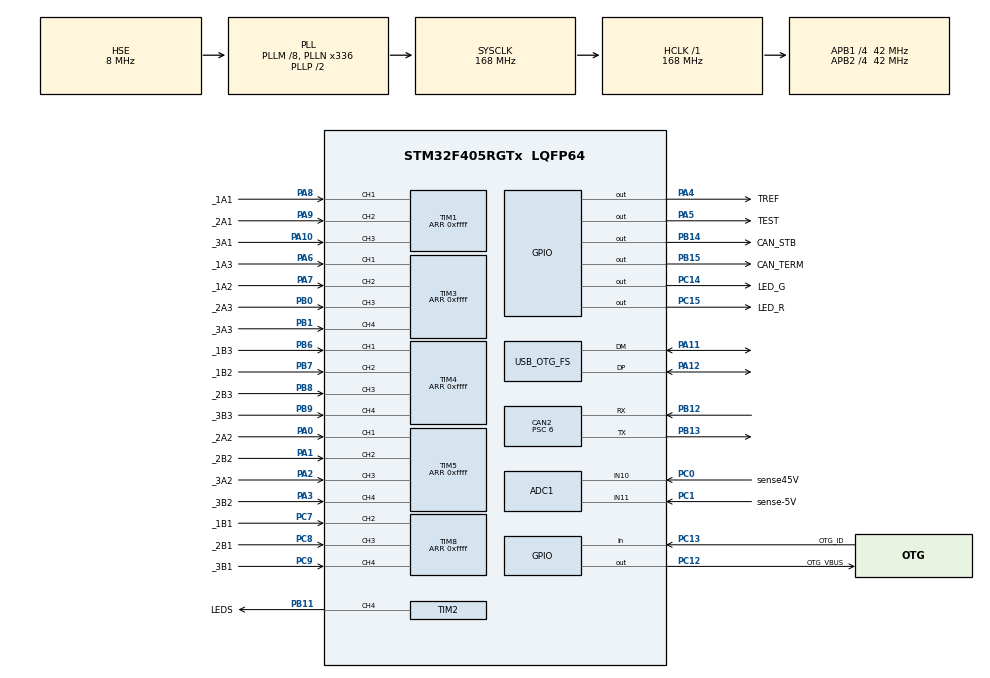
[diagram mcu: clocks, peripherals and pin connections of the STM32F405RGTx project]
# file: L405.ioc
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ADC1.Channel-1\#ChannelRegularConversion=ADC_CHANNEL_10
ADC1.Channel-2\#ChannelRegularConversion=ADC_CHANNEL_11
ADC1.Channel-3\#ChannelRegularConversion=ADC_CHANNEL_TEMPSENSOR
ADC1.ContinuousConvMode=ENABLE
ADC1.DMAContinuousRequests=ENABLE
ADC1.EOCSelection=ADC_EOC_SEQ_CONV
ADC1.InjNumberOfConversion=0
ADC1.NbrOfConversion=3
ADC1.NbrOfConversionFlag=1
ADC1.Rank-1\#ChannelRegularConversion=1
ADC1.Rank-2\#ChannelRegularConversion=2
ADC1.Rank-3\#ChannelRegularConversion=3
ADC1.SamplingTime-1\#ChannelRegularConversion=ADC_SAMPLETIME_112CYCLES
ADC1.SamplingTime-2\#ChannelRegularConversion=ADC_SAMPLETIME_112CYCLES
ADC1.SamplingTime-3\#ChannelRegularConversion=ADC_SAMPLETIME_112CYCLES
ADC1.master=1
CAN2.ABOM=ENABLE
CAN2.BS1=CAN_BS1_11TQ
CAN2.BS2=CAN_BS2_2TQ
CAN2.CalculateBaudRate=500000
CAN2.CalculateTimeBit=1999.99
CAN2.CalculateTimeQuantum=142.85714285714286
CAN2.Mode=CAN_MODE_NORMAL
CAN2.NART=ENABLE
CAN2.Prescaler=6
CAN2.SJW=CAN_SJW_1TQ
CAN2.TXFP=ENABLE
Dma.ADC1.13.Direction=DMA_PERIPH_TO_MEMORY
Dma.ADC1.13.FIFOMode=DMA_FIFOMODE_ENABLE
Dma.ADC1.13.FIFOThreshold=DMA_FIFO_THRESHOLD_FULL
Dma.ADC1.13.Instance=DMA2_Stream0
Dma.ADC1.13.MemBurst=DMA_MBURST_SINGLE
Dma.ADC1.13.MemDataAlignment=DMA_MDATAALIGN_HALFWORD
Dma.ADC1.13.MemInc=DMA_MINC_ENABLE
Dma.ADC1.13.Mode=DMA_CIRCULAR
Dma.ADC1.13.PeriphBurst=DMA_PBURST_SINGLE
Dma.ADC1.13.PeriphDataAlignment=DMA_PDATAALIGN_HALFWORD
Dma.ADC1.13.PeriphInc=DMA_PINC_DISABLE
Dma.ADC1.13.Priority=DMA_PRIORITY_LOW
Dma.Request0=TIM2_UP/CH4
Dma.Request1=TIM5_CH4/TRIG
Dma.Request10=TIM5_CH3/UP
Dma.Request11=TIM3_CH2
Dma.Request12=TIM4_CH2
Dma.Request13=ADC1
Dma.Request2=TIM1_CH1
Dma.Request3=TIM1_CH2
Dma.Request4=TIM1_CH3
Dma.Request5=TIM8_CH2
Dma.Request6=TIM8_CH3
Dma.Request7=TIM8_CH4/TRIG/COM
Dma.Request8=TIM5_CH1
Dma.Request9=TIM5_CH2
Dma.TIM1_CH1.2.Direction=DMA_PERIPH_TO_MEMORY
Dma.TIM1_CH1.2.FIFOMode=DMA_FIFOMODE_DISABLE
Dma.TIM1_CH1.2.Instance=DMA2_Stream1
Dma.TIM1_CH1.2.MemDataAlignment=DMA_MDATAALIGN_WORD
Dma.TIM1_CH1.2.MemInc=DMA_MINC_ENABLE
Dma.TIM1_CH1.2.Mode=DMA_CIRCULAR
Dma.TIM1_CH1.2.PeriphDataAlignment=DMA_PDATAALIGN_WORD
Dma.TIM1_CH1.2.PeriphInc=DMA_PINC_DISABLE
Dma.TIM1_CH1.2.Priority=DMA_PRIORITY_LOW
Dma.TIM1_CH2.3.Direction=DMA_PERIPH_TO_MEMORY
Dma.TIM1_CH2.3.FIFOMode=DMA_FIFOMODE_DISABLE
Dma.TIM1_CH2.3.Instance=DMA2_Stream2
Dma.TIM1_CH2.3.MemDataAlignment=DMA_MDATAALIGN_WORD
Dma.TIM1_CH2.3.MemInc=DMA_MINC_ENABLE
Dma.TIM1_CH2.3.Mode=DMA_CIRCULAR
Dma.TIM1_CH2.3.PeriphDataAlignment=DMA_PDATAALIGN_WORD
Dma.TIM1_CH2.3.PeriphInc=DMA_PINC_DISABLE
Dma.TIM1_CH2.3.Priority=DMA_PRIORITY_LOW
Dma.TIM1_CH3.4.Direction=DMA_PERIPH_TO_MEMORY
Dma.TIM1_CH3.4.FIFOMode=DMA_FIFOMODE_DISABLE
Dma.TIM1_CH3.4.Instance=DMA2_Stream6
Dma.TIM1_CH3.4.MemDataAlignment=DMA_MDATAALIGN_WORD
Dma.TIM1_CH3.4.MemInc=DMA_MINC_ENABLE
Dma.TIM1_CH3.4.Mode=DMA_CIRCULAR
Dma.TIM1_CH3.4.PeriphDataAlignment=DMA_PDATAALIGN_WORD
Dma.TIM1_CH3.4.PeriphInc=DMA_PINC_DISABLE
Dma.TIM1_CH3.4.Priority=DMA_PRIORITY_LOW
Dma.TIM2_UP/CH4.0.Direction=DMA_MEMORY_TO_PERIPH
Dma.TIM2_UP/CH4.0.FIFOMode=DMA_FIFOMODE_ENABLE
Dma.TIM2_UP/CH4.0.FIFOThreshold=DMA_FIFO_THRESHOLD_FULL
Dma.TIM2_UP/CH4.0.Instance=DMA1_Stream7
Dma.TIM2_UP/CH4.0.MemBurst=DMA_MBURST_SINGLE
Dma.TIM2_UP/CH4.0.MemDataAlignment=DMA_MDATAALIGN_WORD
Dma.TIM2_UP/CH4.0.MemInc=DMA_MINC_ENABLE
Dma.TIM2_UP/CH4.0.Mode=DMA_NORMAL
Dma.TIM2_UP/CH4.0.PeriphBurst=DMA_PBURST_SINGLE
Dma.TIM2_UP/CH4.0.PeriphDataAlignment=DMA_PDATAALIGN_WORD
Dma.TIM2_UP/CH4.0.PeriphInc=DMA_PINC_DISABLE
Dma.TIM2_UP/CH4.0.Priority=DMA_PRIORITY_LOW
Dma.TIM3_CH2.11.Direction=DMA_PERIPH_TO_MEMORY
Dma.TIM3_CH2.11.FIFOMode=DMA_FIFOMODE_DISABLE
Dma.TIM3_CH2.11.Instance=DMA1_Stream5
Dma.TIM3_CH2.11.MemDataAlignment=DMA_MDATAALIGN_WORD
Dma.TIM3_CH2.11.MemInc=DMA_MINC_ENABLE
Dma.TIM3_CH2.11.Mode=DMA_CIRCULAR
Dma.TIM3_CH2.11.PeriphDataAlignment=DMA_PDATAALIGN_WORD
Dma.TIM3_CH2.11.PeriphInc=DMA_PINC_DISABLE
Dma.TIM3_CH2.11.Priority=DMA_PRIORITY_LOW
Dma.TIM4_CH2.12.Direction=DMA_PERIPH_TO_MEMORY
Dma.TIM4_CH2.12.FIFOMode=DMA_FIFOMODE_DISABLE
Dma.TIM4_CH2.12.Instance=DMA1_Stream3
Dma.TIM4_CH2.12.MemDataAlignment=DMA_MDATAALIGN_WORD
Dma.TIM4_CH2.12.MemInc=DMA_MINC_ENABLE
Dma.TIM4_CH2.12.Mode=DMA_CIRCULAR
Dma.TIM4_CH2.12.PeriphDataAlignment=DMA_PDATAALIGN_WORD
Dma.TIM4_CH2.12.PeriphInc=DMA_PINC_DISABLE
Dma.TIM4_CH2.12.Priority=DMA_PRIORITY_LOW
Dma.TIM5_CH1.8.Direction=DMA_PERIPH_TO_MEMORY
Dma.TIM5_CH1.8.FIFOMode=DMA_FIFOMODE_DISABLE
Dma.TIM5_CH1.8.Instance=DMA1_Stream2
Dma.TIM5_CH1.8.MemDataAlignment=DMA_MDATAALIGN_WORD
Dma.TIM5_CH1.8.MemInc=DMA_MINC_ENABLE
Dma.TIM5_CH1.8.Mode=DMA_CIRCULAR
Dma.TIM5_CH1.8.PeriphDataAlignment=DMA_PDATAALIGN_WORD
Dma.TIM5_CH1.8.PeriphInc=DMA_PINC_DISABLE
Dma.TIM5_CH1.8.Priority=DMA_PRIORITY_LOW
Dma.TIM5_CH2.9.Direction=DMA_PERIPH_TO_MEMORY
Dma.TIM5_CH2.9.FIFOMode=DMA_FIFOMODE_DISABLE
Dma.TIM5_CH2.9.Instance=DMA1_Stream4
Dma.TIM5_CH2.9.MemDataAlignment=DMA_MDATAALIGN_WORD
Dma.TIM5_CH2.9.MemInc=DMA_MINC_ENABLE
Dma.TIM5_CH2.9.Mode=DMA_CIRCULAR
Dma.TIM5_CH2.9.PeriphDataAlignment=DMA_PDATAALIGN_WORD
Dma.TIM5_CH2.9.PeriphInc=DMA_PINC_DISABLE
Dma.TIM5_CH2.9.Priority=DMA_PRIORITY_LOW
Dma.TIM5_CH3/UP.10.Direction=DMA_PERIPH_TO_MEMORY
Dma.TIM5_CH3/UP.10.FIFOMode=DMA_FIFOMODE_DISABLE
Dma.TIM5_CH3/UP.10.Instance=DMA1_Stream0
Dma.TIM5_CH3/UP.10.MemDataAlignment=DMA_MDATAALIGN_WORD
Dma.TIM5_CH3/UP.10.MemInc=DMA_MINC_ENABLE
Dma.TIM5_CH3/UP.10.Mode=DMA_CIRCULAR
Dma.TIM5_CH3/UP.10.PeriphDataAlignment=DMA_PDATAALIGN_WORD
Dma.TIM5_CH3/UP.10.PeriphInc=DMA_PINC_DISABLE
Dma.TIM5_CH3/UP.10.Priority=DMA_PRIORITY_LOW
Dma.TIM5_CH4/TRIG.1.Direction=DMA_PERIPH_TO_MEMORY
Dma.TIM5_CH4/TRIG.1.FIFOMode=DMA_FIFOMODE_DISABLE
Dma.TIM5_CH4/TRIG.1.Instance=DMA1_Stream1
Dma.TIM5_CH4/TRIG.1.MemDataAlignment=DMA_MDATAALIGN_WORD
Dma.TIM5_CH4/TRIG.1.MemInc=DMA_MINC_ENABLE
Dma.TIM5_CH4/TRIG.1.Mode=DMA_CIRCULAR
Dma.TIM5_CH4/TRIG.1.PeriphDataAlignment=DMA_PDATAALIGN_WORD
Dma.TIM5_CH4/TRIG.1.PeriphInc=DMA_PINC_DISABLE
Dma.TIM5_CH4/TRIG.1.Priority=DMA_PRIORITY_LOW
Dma.TIM8_CH2.5.Direction=DMA_PERIPH_TO_MEMORY
Dma.TIM8_CH2.5.FIFOMode=DMA_FIFOMODE_DISABLE
Dma.TIM8_CH2.5.Instance=DMA2_Stream3
Dma.TIM8_CH2.5.MemDataAlignment=DMA_MDATAALIGN_WORD
Dma.TIM8_CH2.5.MemInc=DMA_MINC_ENABLE
Dma.TIM8_CH2.5.Mode=DMA_CIRCULAR
Dma.TIM8_CH2.5.PeriphDataAlignment=DMA_PDATAALIGN_WORD
Dma.TIM8_CH2.5.PeriphInc=DMA_PINC_DISABLE
Dma.TIM8_CH2.5.Priority=DMA_PRIORITY_LOW
Dma.TIM8_CH3.6.Direction=DMA_PERIPH_TO_MEMORY
Dma.TIM8_CH3.6.FIFOMode=DMA_FIFOMODE_DISABLE
Dma.TIM8_CH3.6.Instance=DMA2_Stream4
Dma.TIM8_CH3.6.MemDataAlignment=DMA_MDATAALIGN_WORD
Dma.TIM8_CH3.6.MemInc=DMA_MINC_ENABLE
Dma.TIM8_CH3.6.Mode=DMA_CIRCULAR
Dma.TIM8_CH3.6.PeriphDataAlignment=DMA_PDATAALIGN_WORD
Dma.TIM8_CH3.6.PeriphInc=DMA_PINC_DISABLE
Dma.TIM8_CH3.6.Priority=DMA_PRIORITY_LOW
Dma.TIM8_CH4/TRIG/COM.7.Direction=DMA_PERIPH_TO_MEMORY
Dma.TIM8_CH4/TRIG/COM.7.FIFOMode=DMA_FIFOMODE_DISABLE
Dma.TIM8_CH4/TRIG/COM.7.Instance=DMA2_Stream7
Dma.TIM8_CH4/TRIG/COM.7.MemDataAlignment=DMA_MDATAALIGN_WORD
Dma.TIM8_CH4/TRIG/COM.7.MemInc=DMA_MINC_ENABLE
Dma.TIM8_CH4/TRIG/COM.7.Mode=DMA_CIRCULAR
Dma.TIM8_CH4/TRIG/COM.7.PeriphDataAlignment=DMA_PDATAALIGN_WORD
Dma.TIM8_CH4/TRIG/COM.7.PeriphInc=DMA_PINC_DISABLE
Dma.TIM8_CH4/TRIG/COM.7.Priority=DMA_PRIORITY_LOW
FATFS._FS_LOCK=3
FATFS._FS_RPATH=2
FATFS._USE_FIND=1
FATFS._USE_LABEL=1
FATFS._USE_LFN=2
IWDG.Prescaler=IWDG_PRESCALER_32
IWDG.Reload=400
Mcu.Family=STM32F4
Mcu.Name=STM32F405RGTx
Mcu.Package=LQFP64
Mcu.UserConstants=__TP,130;__TL,36;__TH,94;__NWS,24;__RXLEN,128;__TXLEN,128
NVIC.CAN2_RX0_IRQn=true\:2\:0\:true\:false\:true\:true\:true
NVIC.CAN2_RX1_IRQn=true\:2\:0\:true\:false\:true\:true\:true
NVIC.CAN2_SCE_IRQn=true\:3\:0\:true\:false\:true\:true\:true
NVIC.CAN2_TX_IRQn=true\:3\:0\:true\:false\:true\:true\:true
NVIC.DMA1_Stream0_IRQn=true\:3\:0\:true\:false\:true\:false\:true
NVIC.DMA1_Stream1_IRQn=true\:3\:0\:true\:false\:true\:false\:true
NVIC.DMA1_Stream2_IRQn=true\:3\:0\:true\:false\:true\:false\:true
NVIC.DMA1_Stream3_IRQn=true\:3\:0\:true\:false\:true\:false\:true
NVIC.DMA1_Stream4_IRQn=true\:3\:0\:true\:false\:true\:false\:true
NVIC.DMA1_Stream5_IRQn=true\:3\:0\:true\:false\:true\:false\:true
NVIC.DMA1_Stream7_IRQn=true\:3\:0\:true\:false\:true\:false\:true
NVIC.DMA2_Stream0_IRQn=true\:3\:0\:true\:false\:true\:false\:true
NVIC.DMA2_Stream1_IRQn=true\:3\:0\:true\:false\:true\:false\:true
NVIC.DMA2_Stream2_IRQn=true\:3\:0\:true\:false\:true\:false\:true
NVIC.DMA2_Stream3_IRQn=true\:3\:0\:true\:false\:true\:false\:true
NVIC.DMA2_Stream4_IRQn=true\:3\:0\:true\:false\:true\:false\:true
NVIC.DMA2_Stream6_IRQn=true\:3\:0\:true\:false\:true\:false\:true
NVIC.DMA2_Stream7_IRQn=true\:3\:0\:true\:false\:true\:false\:true
NVIC.OTG_FS_IRQn=true\:3\:0\:true\:false\:true\:false\:true
NVIC.PriorityGroup=NVIC_PRIORITYGROUP_4
NVIC.TIM3_IRQn=true\:3\:0\:true\:false\:true\:true\:true
NVIC.TIM4_IRQn=true\:3\:0\:true\:false\:true\:true\:true
NVIC.TIM8_BRK_TIM12_IRQn=true\:0\:0\:false\:false\:true\:true\:true
PA0-WKUP.GPIO_Label=_2A2
PA0-WKUP.GPIO_PuPd=GPIO_PULLUP
PA0-WKUP.GPIO_Speed=GPIO_SPEED_FREQ_VERY_HIGH
PA0-WKUP.Signal=S_TIM5_CH1
PA1.GPIO_Label=_2B2
PA1.GPIO_PuPd=GPIO_PULLUP
PA1.GPIO_Speed=GPIO_SPEED_FREQ_VERY_HIGH
PA1.Signal=S_TIM5_CH2
PA10.GPIO_Label=_3A1
PA10.GPIO_PuPd=GPIO_PULLUP
PA10.GPIO_Speed=GPIO_SPEED_FREQ_VERY_HIGH
PA10.Signal=S_TIM1_CH3
PA11.Mode=Host_Only
PA11.Signal=USB_OTG_FS_DM
PA12.Mode=Host_Only
PA12.Signal=USB_OTG_FS_DP
PA13.Mode=Serial_Wire
PA13.Signal=SYS_JTMS-SWDIO
PA14.Mode=Serial_Wire
PA14.Signal=SYS_JTCK-SWCLK
PA2.GPIO_Label=_3A2
PA2.GPIO_PuPd=GPIO_PULLUP
PA2.GPIO_Speed=GPIO_SPEED_FREQ_VERY_HIGH
PA2.Signal=S_TIM5_CH3
PA3.GPIO_Label=_3B2
PA3.GPIO_PuPd=GPIO_PULLUP
PA3.GPIO_Speed=GPIO_SPEED_FREQ_VERY_HIGH
PA3.Signal=S_TIM5_CH4
PA4.GPIO_Label=TREF
PA4.GPIO_Speed=GPIO_SPEED_FREQ_VERY_HIGH
PA4.PinState=GPIO_PIN_SET
PA4.Signal=GPIO_Output
PA5.GPIO_Label=TEST
PA5.GPIO_PuPd=GPIO_PULLDOWN
PA5.GPIO_Speed=GPIO_SPEED_FREQ_VERY_HIGH
PA5.PinState=GPIO_PIN_RESET
PA5.Signal=GPIO_Output
PA6.GPIO_Label=_1A3
PA6.GPIO_PuPd=GPIO_PULLUP
PA6.GPIO_Speed=GPIO_SPEED_FREQ_VERY_HIGH
PA6.Signal=S_TIM3_CH1
PA7.GPIO_Label=_1A2
PA7.GPIO_PuPd=GPIO_PULLUP
PA7.GPIO_Speed=GPIO_SPEED_FREQ_VERY_HIGH
PA7.Signal=S_TIM3_CH2
PA8.GPIO_Label=_1A1
PA8.GPIO_PuPd=GPIO_PULLUP
PA8.GPIO_Speed=GPIO_SPEED_FREQ_VERY_HIGH
PA8.Signal=S_TIM1_CH1
PA9.GPIO_Label=_2A1
PA9.GPIO_PuPd=GPIO_PULLUP
PA9.GPIO_Speed=GPIO_SPEED_FREQ_VERY_HIGH
PA9.Signal=S_TIM1_CH2
PB0.GPIO_Label=_2A3
PB0.GPIO_PuPd=GPIO_PULLUP
PB0.GPIO_Speed=GPIO_SPEED_FREQ_VERY_HIGH
PB0.Signal=S_TIM3_CH3
PB1.GPIO_Label=_3A3
PB1.GPIO_PuPd=GPIO_PULLUP
PB1.GPIO_Speed=GPIO_SPEED_FREQ_VERY_HIGH
PB1.Signal=S_TIM3_CH4
PB11.GPIO_Label=LEDS
PB11.GPIO_PuPd=GPIO_PULLUP
PB11.GPIO_Speed=GPIO_SPEED_FREQ_VERY_HIGH
PB11.Signal=S_TIM2_CH4
PB12.GPIO_PuPd=GPIO_PULLUP
PB12.Mode=CAN_Activate
PB12.Signal=CAN2_RX
PB13.GPIO_PuPd=GPIO_PULLUP
PB13.Mode=CAN_Activate
PB13.Signal=CAN2_TX
PB14.GPIO_Label=CAN_STB
PB14.Signal=GPIO_Output
PB15.GPIO_Label=CAN_TERM
PB15.GPIO_ModeDefaultOutputPP=GPIO_MODE_OUTPUT_OD
PB15.PinState=GPIO_PIN_RESET
PB15.Signal=GPIO_Output
PB6.GPIO_Label=_1B3
PB6.GPIO_PuPd=GPIO_PULLUP
PB6.GPIO_Speed=GPIO_SPEED_FREQ_VERY_HIGH
PB6.Signal=S_TIM4_CH1
PB7.GPIO_Label=_1B2
PB7.GPIO_PuPd=GPIO_PULLUP
PB7.GPIO_Speed=GPIO_SPEED_FREQ_VERY_HIGH
PB7.Signal=S_TIM4_CH2
PB8.GPIO_Label=_2B3
PB8.GPIO_PuPd=GPIO_PULLUP
PB8.GPIO_Speed=GPIO_SPEED_FREQ_VERY_HIGH
PB8.Signal=S_TIM4_CH3
PB9.GPIO_Label=_3B3
PB9.GPIO_PuPd=GPIO_PULLUP
PB9.GPIO_Speed=GPIO_SPEED_FREQ_VERY_HIGH
PB9.Signal=S_TIM4_CH4
PC0.GPIO_Label=sense45V
PC0.Signal=ADCx_IN10
PC1.GPIO_Label=sense-5V
PC1.Signal=ADCx_IN11
PC12.GPIO_Label=OTG_VBUS
PC12.GPIO_ModeDefaultOutputPP=GPIO_MODE_OUTPUT_PP
PC12.Signal=GPIO_Output
PC13-ANTI_TAMP.GPIO_Label=OTG_ID
PC13-ANTI_TAMP.GPIO_PuPd=GPIO_PULLUP
PC13-ANTI_TAMP.Signal=GPIO_Input
PC14-OSC32_IN.GPIO_Label=LED_G
PC14-OSC32_IN.GPIO_ModeDefaultOutputPP=GPIO_MODE_OUTPUT_OD
PC14-OSC32_IN.GPIO_PuPd=GPIO_NOPULL
PC14-OSC32_IN.PinState=GPIO_PIN_SET
PC14-OSC32_IN.Signal=GPIO_Output
PC15-OSC32_OUT.GPIO_Label=LED_R
PC15-OSC32_OUT.GPIO_ModeDefaultOutputPP=GPIO_MODE_OUTPUT_OD
PC15-OSC32_OUT.PinState=GPIO_PIN_SET
PC15-OSC32_OUT.Signal=GPIO_Output
PC7.GPIO_Label=_1B1
PC7.GPIO_PuPd=GPIO_PULLUP
PC7.GPIO_Speed=GPIO_SPEED_FREQ_VERY_HIGH
PC7.Signal=S_TIM8_CH2
PC8.GPIO_Label=_2B1
PC8.GPIO_PuPd=GPIO_PULLUP
PC8.GPIO_Speed=GPIO_SPEED_FREQ_VERY_HIGH
PC8.Signal=S_TIM8_CH3
PC9.GPIO_Label=_3B1
PC9.GPIO_PuPd=GPIO_PULLUP
PC9.GPIO_Speed=GPIO_SPEED_FREQ_VERY_HIGH
PC9.Signal=S_TIM8_CH4
PH0-OSC_IN.Mode=HSE-External-Oscillator
PH0-OSC_IN.Signal=RCC_OSC_IN
PH1-OSC_OUT.Mode=HSE-External-Oscillator
PH1-OSC_OUT.Signal=RCC_OSC_OUT
ProjectManager.HeapSize=0x8000
ProjectManager.StackSize=0x4000
ProjectManager.TargetToolchain=MDK-ARM V5.27
RCC.48MHZClocksFreq_Value=48000000
RCC.AHBFreq_Value=168000000
RCC.APB1CLKDivider=RCC_HCLK_DIV4
RCC.APB1Freq_Value=42000000
RCC.APB1TimFreq_Value=84000000
RCC.APB2CLKDivider=RCC_HCLK_DIV4
RCC.APB2Freq_Value=42000000
RCC.APB2TimFreq_Value=84000000
RCC.CortexFreq_Value=168000000
RCC.HCLKFreq_Value=168000000
RCC.HSE_VALUE=8000000
RCC.HSI_VALUE=16000000
RCC.LSE_VALUE=32768
RCC.PLLM=8
RCC.PLLN=336
RCC.PLLQ=7
RCC.SYSCLKFreq_VALUE=168000000
RCC.SYSCLKSource=RCC_SYSCLKSOURCE_PLLCLK
RCC.VCOOutputFreq_Value=336000000
SH.ADCx_IN10.0=ADC1_IN10,IN10
SH.ADCx_IN11.0=ADC1_IN11,IN11
SH.S_TIM1_CH1.0=TIM1_CH1,Input_Capture1_from_TI1
SH.S_TIM1_CH2.0=TIM1_CH2,Input_Capture2_from_TI2
SH.S_TIM1_CH3.0=TIM1_CH3,Input_Capture3_from_TI3
SH.S_TIM2_CH4.0=TIM2_CH4,PWM Generation4 CH4
SH.S_TIM3_CH1.0=TIM3_CH1,Input_Capture1_from_TI1
SH.S_TIM3_CH2.0=TIM3_CH2,Input_Capture2_from_TI2
SH.S_TIM3_CH3.0=TIM3_CH3,Input_Capture3_from_TI3
SH.S_TIM3_CH4.0=TIM3_CH4,Input_Capture4_from_TI4
SH.S_TIM4_CH1.0=TIM4_CH1,Input_Capture1_from_TI1
SH.S_TIM4_CH2.0=TIM4_CH2,Input_Capture2_from_TI2
SH.S_TIM4_CH3.0=TIM4_CH3,Input_Capture3_from_TI3
SH.S_TIM4_CH4.0=TIM4_CH4,Input_Capture4_from_TI4
SH.S_TIM5_CH1.0=TIM5_CH1,Input_Capture1_from_TI1
SH.S_TIM5_CH2.0=TIM5_CH2,Input_Capture2_from_TI2
SH.S_TIM5_CH3.0=TIM5_CH3,Input_Capture3_from_TI3
SH.S_TIM5_CH4.0=TIM5_CH4,Input_Capture4_from_TI4
SH.S_TIM8_CH2.0=TIM8_CH2,Input_Capture2_from_TI2
SH.S_TIM8_CH3.0=TIM8_CH3,Input_Capture3_from_TI3
SH.S_TIM8_CH4.0=TIM8_CH4,Input_Capture4_from_TI4
TIM1.Channel-Input_Capture1_from_TI1=TIM_CHANNEL_1
TIM1.Channel-Input_Capture2_from_TI2=TIM_CHANNEL_2
TIM1.Channel-Input_Capture3_from_TI3=TIM_CHANNEL_3
TIM1.ICFilter_CH1=0
TIM1.ICPolarity_CH1=TIM_INPUTCHANNELPOLARITY_BOTHEDGE
TIM1.ICPolarity_CH2=TIM_INPUTCHANNELPOLARITY_BOTHEDGE
TIM1.ICPolarity_CH3=TIM_INPUTCHANNELPOLARITY_BOTHEDGE
TIM1.Period=0xffff
TIM1.TIM_MasterOutputTrigger=TIM_TRGO_ENABLE
TIM1.TIM_MasterSlaveMode=TIM_MASTERSLAVEMODE_DISABLE
TIM12.Channel-PWM\ Generation1\ No\ Output=TIM_CHANNEL_1
TIM12.Period=16384
TIM12.Prescaler=1
TIM12.Pulse-PWM\ Generation1\ No\ Output=42
TIM2.Channel-PWM\ Generation4\ CH4=TIM_CHANNEL_4
TIM2.OC4Preload_PWM=ENABLE
TIM2.Period=__TP
TIM2.TIM_MasterOutputTrigger=TIM_TRGO_ENABLE
TIM2.TIM_MasterSlaveMode=TIM_MASTERSLAVEMODE_ENABLE
TIM3.Channel-Input_Capture1_from_TI1=TIM_CHANNEL_1
TIM3.Channel-Input_Capture2_from_TI2=TIM_CHANNEL_2
TIM3.Channel-Input_Capture3_from_TI3=TIM_CHANNEL_3
TIM3.Channel-Input_Capture4_from_TI4=TIM_CHANNEL_4
TIM3.ICPolarity_CH1=TIM_INPUTCHANNELPOLARITY_FALLING
TIM3.ICPolarity_CH2=TIM_INPUTCHANNELPOLARITY_BOTHEDGE
TIM3.ICPolarity_CH3=TIM_INPUTCHANNELPOLARITY_FALLING
TIM3.ICPolarity_CH4=TIM_INPUTCHANNELPOLARITY_FALLING
TIM3.Period=0xffff
TIM3.TIM_MasterOutputTrigger=TIM_TRGO_UPDATE
TIM3.TIM_MasterSlaveMode=TIM_MASTERSLAVEMODE_ENABLE
TIM4.Channel-Input_Capture1_from_TI1=TIM_CHANNEL_1
TIM4.Channel-Input_Capture2_from_TI2=TIM_CHANNEL_2
TIM4.Channel-Input_Capture3_from_TI3=TIM_CHANNEL_3
TIM4.Channel-Input_Capture4_from_TI4=TIM_CHANNEL_4
TIM4.ICPolarity_CH1=TIM_INPUTCHANNELPOLARITY_FALLING
TIM4.ICPolarity_CH2=TIM_INPUTCHANNELPOLARITY_BOTHEDGE
TIM4.ICPolarity_CH3=TIM_INPUTCHANNELPOLARITY_FALLING
TIM4.ICPolarity_CH4=TIM_INPUTCHANNELPOLARITY_FALLING
TIM4.Period=0xffff
TIM4.TIM_MasterOutputTrigger=TIM_TRGO_UPDATE
TIM4.TIM_MasterSlaveMode=TIM_MASTERSLAVEMODE_ENABLE
TIM5.Channel-Input_Capture1_from_TI1=TIM_CHANNEL_1
TIM5.Channel-Input_Capture2_from_TI2=TIM_CHANNEL_2
TIM5.Channel-Input_Capture3_from_TI3=TIM_CHANNEL_3
TIM5.Channel-Input_Capture4_from_TI4=TIM_CHANNEL_4
TIM5.ICPolarity_CH1=TIM_INPUTCHANNELPOLARITY_BOTHEDGE
TIM5.ICPolarity_CH2=TIM_INPUTCHANNELPOLARITY_BOTHEDGE
TIM5.ICPolarity_CH3=TIM_INPUTCHANNELPOLARITY_BOTHEDGE
TIM5.ICPolarity_CH4=TIM_INPUTCHANNELPOLARITY_BOTHEDGE
TIM5.Period=0xffff
TIM8.Channel-Input_Capture2_from_TI2=TIM_CHANNEL_2
TIM8.Channel-Input_Capture3_from_TI3=TIM_CHANNEL_3
TIM8.Channel-Input_Capture4_from_TI4=TIM_CHANNEL_4
TIM8.ICPolarity_CH2=TIM_INPUTCHANNELPOLARITY_BOTHEDGE
TIM8.ICPolarity_CH3=TIM_INPUTCHANNELPOLARITY_BOTHEDGE
TIM8.ICPolarity_CH4=TIM_INPUTCHANNELPOLARITY_BOTHEDGE
TIM8.Period=0xffff
TIM8.TIM_MasterOutputTrigger=TIM_TRGO_UPDATE
TIM8.TIM_MasterSlaveMode=TIM_MASTERSLAVEMODE_DISABLE
TIM9.Period=0xffff
USB_HOST.BSP.number=1
USB_HOST.USBH_HandleTypeDef-MSC_FS=hUsbHostFS
USB_HOST.VirtualModeFS=Msc
USB_HOST0.BSP.STBoard=false
USB_HOST0.BSP.api=Unknown
USB_HOST0.BSP.i2caddr=0
USB_HOST0.BSP.instance=PC12
USB_HOST0.BSP.ip=GPIO
USB_HOST0.BSP.mode=Output
USB_HOST0.BSP.name=Drive_VBUS_FS
USB_HOST0.BSP.solution=PC12
USB_OTG_FS.VirtualMode=Host_Only
USB_OTG_FS.phy_itface=HCD_PHY_EMBEDDED
VP_ADC1_TempSens_Input.Mode=IN-TempSens
VP_CRC_VS_CRC.Mode=CRC_Activate
VP_FATFS_VS_Generic.Mode=User_defined
VP_FATFS_VS_USB.Mode=USB
VP_IWDG_VS_IWDG.Mode=IWDG_Activate
VP_TIM12_VS_ClockSourceITR.Mode=TriggerSource_ITR0
VP_TIM12_VS_ControllerModeTrigger.Mode=Trigger Mode
VP_TIM12_VS_OPM.Mode=OPM_bit
VP_TIM12_VS_no_output1.Mode=PWM Generation1 No Output
VP_TIM1_VS_ClockSourceITR.Mode=TriggerSource_ITR1
VP_TIM1_VS_ControllerModeTrigger.Mode=Trigger Mode
VP_TIM3_VS_ClockSourceITR.Mode=TriggerSource_ITR1
VP_TIM3_VS_ControllerModeTrigger.Mode=Trigger Mode
VP_TIM4_VS_ClockSourceITR.Mode=TriggerSource_ITR1
VP_TIM4_VS_ControllerModeTrigger.Mode=Trigger Mode
VP_TIM5_VS_ClockSourceITR.Mode=TriggerSource_ITR0
VP_TIM5_VS_ControllerModeTrigger.Mode=Trigger Mode
VP_TIM8_VS_ClockSourceITR.Mode=TriggerSource_ITR1
VP_TIM8_VS_ControllerModeTrigger.Mode=Trigger Mode
VP_TIM9_VS_ClockSourceITR.Mode=TriggerSource_ITR1
VP_TIM9_VS_ControllerModeClock.Mode=Clock Mode
VP_USB_HOST_VS_USB_HOST_MSC_FS.Mode=MSC_FS
board=custom

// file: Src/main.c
/* USER CODE BEGIN Header */
/**
  ******************************************************************************
  * @file           : main.c
  * @brief          : Main program body
  ******************************************************************************
  * @attention
  *
  * <h2><center>&copy; Copyright (c) 2019 STMicroelectronics.
  * All rights reserved.</center></h2>
  *
  * This software component is licensed by ST under Ultimate Liberty license
  * SLA0044, the "License"; You may not use this file except in compliance with
  * the License. You may obtain a copy of the License at:
  *                             www.st.com/SLA0044
  *
  ******************************************************************************
  */
/* USER CODE END Header */
#include "main.h"
#include "fatfs.h"
#include "usb_host.h"

/* USER CODE BEGIN Includes */
#include "ascii.h"
#include "proc.h"
#include "ws.h"
#include "can.h"
#include "console.h"
#include "leds.h"
#include "usbh_platform.h"
/* USER CODE END Includes */

/* USER CODE BEGIN PD */
_io			*InitITM(void),InitVCP(void);
void		i2cInit(void);
extern	I2C_HandleTypeDef hi2c1;
adc			pwr;

/* USER CODE END PD */

ADC_HandleTypeDef hadc1;
DMA_HandleTypeDef hdma_adc1;

CAN_HandleTypeDef hcan2;

CRC_HandleTypeDef hcrc;

IWDG_HandleTypeDef hiwdg;

TIM_HandleTypeDef htim1;
TIM_HandleTypeDef htim2;
TIM_HandleTypeDef htim3;
TIM_HandleTypeDef htim4;
TIM_HandleTypeDef htim5;
TIM_HandleTypeDef htim8;
TIM_HandleTypeDef htim9;
TIM_HandleTypeDef htim12;
DMA_HandleTypeDef hdma_tim1_ch1;
DMA_HandleTypeDef hdma_tim1_ch2;
DMA_HandleTypeDef hdma_tim1_ch3;
DMA_HandleTypeDef hdma_tim2_up_ch4;
DMA_HandleTypeDef hdma_tim3_ch2;
DMA_HandleTypeDef hdma_tim4_ch2;
DMA_HandleTypeDef hdma_tim5_ch4_trig;
DMA_HandleTypeDef hdma_tim5_ch1;
DMA_HandleTypeDef hdma_tim5_ch2;
DMA_HandleTypeDef hdma_tim5_ch3_up;
DMA_HandleTypeDef hdma_tim8_ch2;
DMA_HandleTypeDef hdma_tim8_ch3;
DMA_HandleTypeDef hdma_tim8_ch4_trig_com;

void SystemClock_Config(void);
static void MX_GPIO_Init(void);
static void MX_DMA_Init(void);
static void MX_TIM2_Init(void);
static void MX_TIM1_Init(void);
static void MX_TIM3_Init(void);
static void MX_TIM4_Init(void);
static void MX_TIM5_Init(void);
static void MX_TIM8_Init(void);
static void MX_CAN2_Init(void);
static void MX_CRC_Init(void);
static void MX_IWDG_Init(void);
static void MX_ADC1_Init(void);
static void MX_TIM9_Init(void);
static void MX_TIM12_Init(void);
void MX_USB_HOST_Process(void);

/* USER CODE BEGIN PFP */
void	MX_TIM2_Cfg(void);
/* USER CODE END PFP */

int main(void)
{
  /* USER CODE BEGIN 1 */
uint32_t	otgDeviceId=false, otgDeviceTimeout=0;

  /* USER CODE END 1 */

  /* MCU Configuration--------------------------------------------------------*/

  /* Reset of all peripherals, Initializes the Flash interface and the Systick. */
  HAL_Init();

  /* Configure the system clock */
  SystemClock_Config();

  /* USER CODE BEGIN SysInit */
	__HAL_RCC_CLEAR_RESET_FLAGS();
  /* USER CODE END SysInit */

  /* Initialize all configured peripherals */
  MX_GPIO_Init();
  MX_DMA_Init();
  MX_TIM2_Init();
  MX_TIM1_Init();
  MX_TIM3_Init();
  MX_TIM4_Init();
  MX_TIM5_Init();
  MX_TIM8_Init();
  MX_FATFS_Init();
  MX_CAN2_Init();
  MX_CRC_Init();
  MX_IWDG_Init();
  MX_ADC1_Init();
  MX_USB_HOST_Init();
  MX_TIM9_Init();
  MX_TIM12_Init();
  /* USER CODE BEGIN 2 */

	__ledInit;
	__otgIdInit;
	__otgPwrInit;

	if(LoadSettings() == FR_OK) {
		_GREEN(1000);
		f_unlink("L405.hex");
		f_unlink("L405.bin");
		idCrc=HAL_CRC_Calculate(&hcrc,(uint32_t *)FLASH_TOP, (FATFS_ADDRESS-FLASH_TOP)/sizeof(int));
		if(ff_pack(0) > 20)
			ff_pack(EOF);
	} else
		_RED(1000);

	_proc_add(canRx,NULL,"canRx",0);
	_proc_add(canTx,NULL,"canTx",0);
	_proc_add(Watchdog,NULL,"watchdog",100);
	_proc_add(selftest,NULL,"selftest",100);
	_proc_add(ledProc,NULL,"leds",10);

	HAL_ADC_Start_DMA(&hadc1, (uint32_t *)&pwr.dma, (sizeof(pwr.dma))/(sizeof(uint16_t)));

	InitVCP();
	InitITM();
	_stdio(&_ITM);
	printVersion();
	_stdio(NULL);

	wsProcInit();
  /* USER CODE END 2 */

  /* Infinite loop */
  while (1)
  {
    MX_USB_HOST_Process();

    /* USER CODE BEGIN 3 */
		_proc_loop();

		if(otgDeviceId !=  __otgDeviceId) {
			otgDeviceId	= __otgDeviceId;
			otgDeviceTimeout=HAL_GetTick()+100;
		}

		if(otgDeviceTimeout && HAL_GetTick() > otgDeviceTimeout) {
			otgDeviceTimeout=0;
			if(otgDeviceId)
				Parse(__f9);
			else
				Parse(__f10);
		}

		if(!hi2c1.Instance && idPos > _MAX_HEAD-1 && HAL_GetTick() > 1000) {
			HAL_TIM_Base_MspDeInit(&htim4);
			i2cInit();
		}
	}
  /* USER CODE END 3 */
}

void SystemClock_Config(void)
{
  RCC_OscInitTypeDef RCC_OscInitStruct = {0};
  RCC_ClkInitTypeDef RCC_ClkInitStruct = {0};

  /** Configure the main internal regulator output voltage
  */
  __HAL_RCC_PWR_CLK_ENABLE();
  __HAL_PWR_VOLTAGESCALING_CONFIG(PWR_REGULATOR_VOLTAGE_SCALE1);
  /** Initializes the RCC Oscillators according to the specified parameters
  * in the RCC_OscInitTypeDef structure.
  */
  RCC_OscInitStruct.OscillatorType = RCC_OSCILLATORTYPE_LSI|RCC_OSCILLATORTYPE_HSE;
  RCC_OscInitStruct.HSEState = RCC_HSE_ON;
  RCC_OscInitStruct.LSIState = RCC_LSI_ON;
  RCC_OscInitStruct.PLL.PLLState = RCC_PLL_ON;
  RCC_OscInitStruct.PLL.PLLSource = RCC_PLLSOURCE_HSE;
  RCC_OscInitStruct.PLL.PLLM = 8;
  RCC_OscInitStruct.PLL.PLLN = 336;
  RCC_OscInitStruct.PLL.PLLP = RCC_PLLP_DIV2;
  RCC_OscInitStruct.PLL.PLLQ = 7;
  if (HAL_RCC_OscConfig(&RCC_OscInitStruct) != HAL_OK)
  {
    Error_Handler();
  }
  /** Initializes the CPU, AHB and APB buses clocks
  */
  RCC_ClkInitStruct.ClockType = RCC_CLOCKTYPE_HCLK|RCC_CLOCKTYPE_SYSCLK
                              |RCC_CLOCKTYPE_PCLK1|RCC_CLOCKTYPE_PCLK2;
  RCC_ClkInitStruct.SYSCLKSource = RCC_SYSCLKSOURCE_PLLCLK;
  RCC_ClkInitStruct.AHBCLKDivider = RCC_SYSCLK_DIV1;
  RCC_ClkInitStruct.APB1CLKDivider = RCC_HCLK_DIV4;
  RCC_ClkInitStruct.APB2CLKDivider = RCC_HCLK_DIV4;

  if (HAL_RCC_ClockConfig(&RCC_ClkInitStruct, FLASH_LATENCY_5) != HAL_OK)
  {
    Error_Handler();
  }
}

static void MX_ADC1_Init(void)
{

  ADC_ChannelConfTypeDef sConfig = {0};

  /** Configure the global features of the ADC (Clock, Resolution, Data Alignment and number of conversion)
  */
  hadc1.Instance = ADC1;
  hadc1.Init.ClockPrescaler = ADC_CLOCK_SYNC_PCLK_DIV2;
  hadc1.Init.Resolution = ADC_RESOLUTION_12B;
  hadc1.Init.ScanConvMode = ENABLE;
  hadc1.Init.ContinuousConvMode = ENABLE;
  hadc1.Init.DiscontinuousConvMode = DISABLE;
  hadc1.Init.ExternalTrigConvEdge = ADC_EXTERNALTRIGCONVEDGE_NONE;
  hadc1.Init.ExternalTrigConv = ADC_SOFTWARE_START;
  hadc1.Init.DataAlign = ADC_DATAALIGN_RIGHT;
  hadc1.Init.NbrOfConversion = 3;
  hadc1.Init.DMAContinuousRequests = ENABLE;
  hadc1.Init.EOCSelection = ADC_EOC_SEQ_CONV;
  if (HAL_ADC_Init(&hadc1) != HAL_OK)
  {
    Error_Handler();
  }
  /** Configure for the selected ADC regular channel its corresponding rank in the sequencer and its sample time.
  */
  sConfig.Channel = ADC_CHANNEL_10;
  sConfig.Rank = 1;
  sConfig.SamplingTime = ADC_SAMPLETIME_112CYCLES;
  if (HAL_ADC_ConfigChannel(&hadc1, &sConfig) != HAL_OK)
  {
    Error_Handler();
  }
  /** Configure for the selected ADC regular channel its corresponding rank in the sequencer and its sample time.
  */
  sConfig.Channel = ADC_CHANNEL_11;
  sConfig.Rank = 2;
  if (HAL_ADC_ConfigChannel(&hadc1, &sConfig) != HAL_OK)
  {
    Error_Handler();
  }
  /** Configure for the selected ADC regular channel its corresponding rank in the sequencer and its sample time.
  */
  sConfig.Channel = ADC_CHANNEL_TEMPSENSOR;
  sConfig.Rank = 3;
  if (HAL_ADC_ConfigChannel(&hadc1, &sConfig) != HAL_OK)
  {
    Error_Handler();
  }

}

static void MX_CAN2_Init(void)
{

  hcan2.Instance = CAN2;
  hcan2.Init.Prescaler = 6;
  hcan2.Init.Mode = CAN_MODE_NORMAL;
  hcan2.Init.SyncJumpWidth = CAN_SJW_1TQ;
  hcan2.Init.TimeSeg1 = CAN_BS1_11TQ;
  hcan2.Init.TimeSeg2 = CAN_BS2_2TQ;
  hcan2.Init.TimeTriggeredMode = DISABLE;
  hcan2.Init.AutoBusOff = ENABLE;
  hcan2.Init.AutoWakeUp = DISABLE;
  hcan2.Init.AutoRetransmission = ENABLE;
  hcan2.Init.ReceiveFifoLocked = DISABLE;
  hcan2.Init.TransmitFifoPriority = ENABLE;
  if (HAL_CAN_Init(&hcan2) != HAL_OK)
  {
    Error_Handler();
  }

}

static void MX_CRC_Init(void)
{

  hcrc.Instance = CRC;
  if (HAL_CRC_Init(&hcrc) != HAL_OK)
  {
    Error_Handler();
  }

}

static void MX_IWDG_Init(void)
{

  hiwdg.Instance = IWDG;
  hiwdg.Init.Prescaler = IWDG_PRESCALER_32;
  hiwdg.Init.Reload = 400;
  if (HAL_IWDG_Init(&hiwdg) != HAL_OK)
  {
    Error_Handler();
  }

}

static void MX_TIM1_Init(void)
{

  TIM_SlaveConfigTypeDef sSlaveConfig = {0};
  TIM_MasterConfigTypeDef sMasterConfig = {0};
  TIM_IC_InitTypeDef sConfigIC = {0};

  htim1.Instance = TIM1;
  htim1.Init.Prescaler = 0;
  htim1.Init.CounterMode = TIM_COUNTERMODE_UP;
  htim1.Init.Period = 0xffff;
  htim1.Init.ClockDivision = TIM_CLOCKDIVISION_DIV1;
  htim1.Init.RepetitionCounter = 0;
  htim1.Init.AutoReloadPreload = TIM_AUTORELOAD_PRELOAD_DISABLE;
  if (HAL_TIM_Base_Init(&htim1) != HAL_OK)
  {
    Error_Handler();
  }
  if (HAL_TIM_IC_Init(&htim1) != HAL_OK)
  {
    Error_Handler();
  }
  sSlaveConfig.SlaveMode = TIM_SLAVEMODE_TRIGGER;
  sSlaveConfig.InputTrigger = TIM_TS_ITR1;
  if (HAL_TIM_SlaveConfigSynchro(&htim1, &sSlaveConfig) != HAL_OK)
  {
    Error_Handler();
  }
  sMasterConfig.MasterOutputTrigger = TIM_TRGO_ENABLE;
  sMasterConfig.MasterSlaveMode = TIM_MASTERSLAVEMODE_DISABLE;
  if (HAL_TIMEx_MasterConfigSynchronization(&htim1, &sMasterConfig) != HAL_OK)
  {
    Error_Handler();
  }
  sConfigIC.ICPolarity = TIM_INPUTCHANNELPOLARITY_BOTHEDGE;
  sConfigIC.ICSelection = TIM_ICSELECTION_DIRECTTI;
  sConfigIC.ICPrescaler = TIM_ICPSC_DIV1;
  sConfigIC.ICFilter = 0;
  if (HAL_TIM_IC_ConfigChannel(&htim1, &sConfigIC, TIM_CHANNEL_1) != HAL_OK)
  {
    Error_Handler();
  }
  if (HAL_TIM_IC_ConfigChannel(&htim1, &sConfigIC, TIM_CHANNEL_2) != HAL_OK)
  {
    Error_Handler();
  }
  if (HAL_TIM_IC_ConfigChannel(&htim1, &sConfigIC, TIM_CHANNEL_3) != HAL_OK)
  {
    Error_Handler();
  }

}

static void MX_TIM2_Init(void)
{

  TIM_MasterConfigTypeDef sMasterConfig = {0};
  TIM_OC_InitTypeDef sConfigOC = {0};

  htim2.Instance = TIM2;
  htim2.Init.Prescaler = 0;
  htim2.Init.CounterMode = TIM_COUNTERMODE_UP;
  htim2.Init.Period = __TP;
  htim2.Init.ClockDivision = TIM_CLOCKDIVISION_DIV1;
  htim2.Init.AutoReloadPreload = TIM_AUTORELOAD_PRELOAD_DISABLE;
  if (HAL_TIM_PWM_Init(&htim2) != HAL_OK)
  {
    Error_Handler();
  }
  sMasterConfig.MasterOutputTrigger = TIM_TRGO_ENABLE;
  sMasterConfig.MasterSlaveMode = TIM_MASTERSLAVEMODE_ENABLE;
  if (HAL_TIMEx_MasterConfigSynchronization(&htim2, &sMasterConfig) != HAL_OK)
  {
    Error_Handler();
  }
  sConfigOC.OCMode = TIM_OCMODE_PWM1;
  sConfigOC.Pulse = 0;
  sConfigOC.OCPolarity = TIM_OCPOLARITY_HIGH;
  sConfigOC.OCFastMode = TIM_OCFAST_DISABLE;
  if (HAL_TIM_PWM_ConfigChannel(&htim2, &sConfigOC, TIM_CHANNEL_4) != HAL_OK)
  {
    Error_Handler();
  }
  HAL_TIM_MspPostInit(&htim2);

}

static void MX_TIM3_Init(void)
{

  TIM_SlaveConfigTypeDef sSlaveConfig = {0};
  TIM_MasterConfigTypeDef sMasterConfig = {0};
  TIM_IC_InitTypeDef sConfigIC = {0};

  htim3.Instance = TIM3;
  htim3.Init.Prescaler = 0;
  htim3.Init.CounterMode = TIM_COUNTERMODE_UP;
  htim3.Init.Period = 0xffff;
  htim3.Init.ClockDivision = TIM_CLOCKDIVISION_DIV1;
  htim3.Init.AutoReloadPreload = TIM_AUTORELOAD_PRELOAD_DISABLE;
  if (HAL_TIM_Base_Init(&htim3) != HAL_OK)
  {
    Error_Handler();
  }
  if (HAL_TIM_IC_Init(&htim3) != HAL_OK)
  {
    Error_Handler();
  }
  sSlaveConfig.SlaveMode = TIM_SLAVEMODE_TRIGGER;
  sSlaveConfig.InputTrigger = TIM_TS_ITR1;
  if (HAL_TIM_SlaveConfigSynchro(&htim3, &sSlaveConfig) != HAL_OK)
  {
    Error_Handler();
  }
  sMasterConfig.MasterOutputTrigger = TIM_TRGO_UPDATE;
  sMasterConfig.MasterSlaveMode = TIM_MASTERSLAVEMODE_ENABLE;
  if (HAL_TIMEx_MasterConfigSynchronization(&htim3, &sMasterConfig) != HAL_OK)
  {
    Error_Handler();
  }
  sConfigIC.ICPolarity = TIM_INPUTCHANNELPOLARITY_FALLING;
  sConfigIC.ICSelection = TIM_ICSELECTION_DIRECTTI;
  sConfigIC.ICPrescaler = TIM_ICPSC_DIV1;
  sConfigIC.ICFilter = 0;
  if (HAL_TIM_IC_ConfigChannel(&htim3, &sConfigIC, TIM_CHANNEL_1) != HAL_OK)
  {
    Error_Handler();
  }
  sConfigIC.ICPolarity = TIM_INPUTCHANNELPOLARITY_BOTHEDGE;
  if (HAL_TIM_IC_ConfigChannel(&htim3, &sConfigIC, TIM_CHANNEL_2) != HAL_OK)
  {
    Error_Handler();
  }
  sConfigIC.ICPolarity = TIM_INPUTCHANNELPOLARITY_FALLING;
  if (HAL_TIM_IC_ConfigChannel(&htim3, &sConfigIC, TIM_CHANNEL_3) != HAL_OK)
  {
    Error_Handler();
  }
  if (HAL_TIM_IC_ConfigChannel(&htim3, &sConfigIC, TIM_CHANNEL_4) != HAL_OK)
  {
    Error_Handler();
  }

}

static void MX_TIM4_Init(void)
{

  TIM_SlaveConfigTypeDef sSlaveConfig = {0};
  TIM_MasterConfigTypeDef sMasterConfig = {0};
  TIM_IC_InitTypeDef sConfigIC = {0};

  htim4.Instance = TIM4;
  htim4.Init.Prescaler = 0;
  htim4.Init.CounterMode = TIM_COUNTERMODE_UP;
  htim4.Init.Period = 0xffff;
  htim4.Init.ClockDivision = TIM_CLOCKDIVISION_DIV1;
  htim4.Init.AutoReloadPreload = TIM_AUTORELOAD_PRELOAD_DISABLE;
  if (HAL_TIM_Base_Init(&htim4) != HAL_OK)
  {
    Error_Handler();
  }
  if (HAL_TIM_IC_Init(&htim4) != HAL_OK)
  {
    Error_Handler();
  }
  sSlaveConfig.SlaveMode = TIM_SLAVEMODE_TRIGGER;
  sSlaveConfig.InputTrigger = TIM_TS_ITR1;
  if (HAL_TIM_SlaveConfigSynchro(&htim4, &sSlaveConfig) != HAL_OK)
  {
    Error_Handler();
  }
  sMasterConfig.MasterOutputTrigger = TIM_TRGO_UPDATE;
  sMasterConfig.MasterSlaveMode = TIM_MASTERSLAVEMODE_ENABLE;
  if (HAL_TIMEx_MasterConfigSynchronization(&htim4, &sMasterConfig) != HAL_OK)
  {
    Error_Handler();
  }
  sConfigIC.ICPolarity = TIM_INPUTCHANNELPOLARITY_FALLING;
  sConfigIC.ICSelection = TIM_ICSELECTION_DIRECTTI;
  sConfigIC.ICPrescaler = TIM_ICPSC_DIV1;
  sConfigIC.ICFilter = 0;
  if (HAL_TIM_IC_ConfigChannel(&htim4, &sConfigIC, TIM_CHANNEL_1) != HAL_OK)
  {
    Error_Handler();
  }
  sConfigIC.ICPolarity = TIM_INPUTCHANNELPOLARITY_BOTHEDGE;
  if (HAL_TIM_IC_ConfigChannel(&htim4, &sConfigIC, TIM_CHANNEL_2) != HAL_OK)
  {
    Error_Handler();
  }
  sConfigIC.ICPolarity = TIM_INPUTCHANNELPOLARITY_FALLING;
  if (HAL_TIM_IC_ConfigChannel(&htim4, &sConfigIC, TIM_CHANNEL_3) != HAL_OK)
  {
    Error_Handler();
  }
  if (HAL_TIM_IC_ConfigChannel(&htim4, &sConfigIC, TIM_CHANNEL_4) != HAL_OK)
  {
    Error_Handler();
  }

}

static void MX_TIM5_Init(void)
{

  TIM_SlaveConfigTypeDef sSlaveConfig = {0};
  TIM_MasterConfigTypeDef sMasterConfig = {0};
  TIM_IC_InitTypeDef sConfigIC = {0};

  htim5.Instance = TIM5;
  htim5.Init.Prescaler = 0;
  htim5.Init.CounterMode = TIM_COUNTERMODE_UP;
  htim5.Init.Period = 0xffff;
  htim5.Init.ClockDivision = TIM_CLOCKDIVISION_DIV1;
  htim5.Init.AutoReloadPreload = TIM_AUTORELOAD_PRELOAD_DISABLE;
  if (HAL_TIM_Base_Init(&htim5) != HAL_OK)
  {
    Error_Handler();
  }
  if (HAL_TIM_IC_Init(&htim5) != HAL_OK)
  {
    Error_Handler();
  }
  sSlaveConfig.SlaveMode = TIM_SLAVEMODE_TRIGGER;
  sSlaveConfig.InputTrigger = TIM_TS_ITR0;
  if (HAL_TIM_SlaveConfigSynchro(&htim5, &sSlaveConfig) != HAL_OK)
  {
    Error_Handler();
  }
  sMasterConfig.MasterOutputTrigger = TIM_TRGO_RESET;
  sMasterConfig.MasterSlaveMode = TIM_MASTERSLAVEMODE_DISABLE;
  if (HAL_TIMEx_MasterConfigSynchronization(&htim5, &sMasterConfig) != HAL_OK)
  {
    Error_Handler();
  }
  sConfigIC.ICPolarity = TIM_INPUTCHANNELPOLARITY_BOTHEDGE;
  sConfigIC.ICSelection = TIM_ICSELECTION_DIRECTTI;
  sConfigIC.ICPrescaler = TIM_ICPSC_DIV1;
  sConfigIC.ICFilter = 0;
  if (HAL_TIM_IC_ConfigChannel(&htim5, &sConfigIC, TIM_CHANNEL_1) != HAL_OK)
  {
    Error_Handler();
  }
  if (HAL_TIM_IC_ConfigChannel(&htim5, &sConfigIC, TIM_CHANNEL_2) != HAL_OK)
  {
    Error_Handler();
  }
  if (HAL_TIM_IC_ConfigChannel(&htim5, &sConfigIC, TIM_CHANNEL_3) != HAL_OK)
  {
    Error_Handler();
  }
  if (HAL_TIM_IC_ConfigChannel(&htim5, &sConfigIC, TIM_CHANNEL_4) != HAL_OK)
  {
    Error_Handler();
  }

}

static void MX_TIM8_Init(void)
{

  TIM_SlaveConfigTypeDef sSlaveConfig = {0};
  TIM_MasterConfigTypeDef sMasterConfig = {0};
  TIM_IC_InitTypeDef sConfigIC = {0};

  htim8.Instance = TIM8;
  htim8.Init.Prescaler = 0;
  htim8.Init.CounterMode = TIM_COUNTERMODE_UP;
  htim8.Init.Period = 0xffff;
  htim8.Init.ClockDivision = TIM_CLOCKDIVISION_DIV1;
  htim8.Init.RepetitionCounter = 0;
  htim8.Init.AutoReloadPreload = TIM_AUTORELOAD_PRELOAD_DISABLE;
  if (HAL_TIM_Base_Init(&htim8) != HAL_OK)
  {
    Error_Handler();
  }
  if (HAL_TIM_IC_Init(&htim8) != HAL_OK)
  {
    Error_Handler();
  }
  sSlaveConfig.SlaveMode = TIM_SLAVEMODE_TRIGGER;
  sSlaveConfig.InputTrigger = TIM_TS_ITR1;
  if (HAL_TIM_SlaveConfigSynchro(&htim8, &sSlaveConfig) != HAL_OK)
  {
    Error_Handler();
  }
  sMasterConfig.MasterOutputTrigger = TIM_TRGO_UPDATE;
  sMasterConfig.MasterSlaveMode = TIM_MASTERSLAVEMODE_DISABLE;
  if (HAL_TIMEx_MasterConfigSynchronization(&htim8, &sMasterConfig) != HAL_OK)
  {
    Error_Handler();
  }
  sConfigIC.ICPolarity = TIM_INPUTCHANNELPOLARITY_BOTHEDGE;
  sConfigIC.ICSelection = TIM_ICSELECTION_DIRECTTI;
  sConfigIC.ICPrescaler = TIM_ICPSC_DIV1;
  sConfigIC.ICFilter = 0;
  if (HAL_TIM_IC_ConfigChannel(&htim8, &sConfigIC, TIM_CHANNEL_2) != HAL_OK)
  {
    Error_Handler();
  }
  if (HAL_TIM_IC_ConfigChannel(&htim8, &sConfigIC, TIM_CHANNEL_3) != HAL_OK)
  {
    Error_Handler();
  }
  if (HAL_TIM_IC_ConfigChannel(&htim8, &sConfigIC, TIM_CHANNEL_4) != HAL_OK)
  {
    Error_Handler();
  }

}

static void MX_TIM9_Init(void)
{

  TIM_SlaveConfigTypeDef sSlaveConfig = {0};

  htim9.Instance = TIM9;
  htim9.Init.Prescaler = 0;
  htim9.Init.CounterMode = TIM_COUNTERMODE_UP;
  htim9.Init.Period = 0xffff;
  htim9.Init.ClockDivision = TIM_CLOCKDIVISION_DIV1;
  htim9.Init.AutoReloadPreload = TIM_AUTORELOAD_PRELOAD_DISABLE;
  if (HAL_TIM_Base_Init(&htim9) != HAL_OK)
  {
    Error_Handler();
  }
  sSlaveConfig.SlaveMode = TIM_SLAVEMODE_EXTERNAL1;
  sSlaveConfig.InputTrigger = TIM_TS_ITR1;
  if (HAL_TIM_SlaveConfigSynchro(&htim9, &sSlaveConfig) != HAL_OK)
  {
    Error_Handler();
  }

}

static void MX_TIM12_Init(void)
{

  TIM_SlaveConfigTypeDef sSlaveConfig = {0};
  TIM_OC_InitTypeDef sConfigOC = {0};

  htim12.Instance = TIM12;
  htim12.Init.Prescaler = 1;
  htim12.Init.CounterMode = TIM_COUNTERMODE_UP;
  htim12.Init.Period = 0x4000+42;
  htim12.Init.ClockDivision = TIM_CLOCKDIVISION_DIV1;
  htim12.Init.AutoReloadPreload = TIM_AUTORELOAD_PRELOAD_DISABLE;
  if (HAL_TIM_Base_Init(&htim12) != HAL_OK)
  {
    Error_Handler();
  }
  if (HAL_TIM_PWM_Init(&htim12) != HAL_OK)
  {
    Error_Handler();
  }
  if (HAL_TIM_OnePulse_Init(&htim12, TIM_OPMODE_SINGLE) != HAL_OK)
  {
    Error_Handler();
  }
  sSlaveConfig.SlaveMode = TIM_SLAVEMODE_TRIGGER;
  sSlaveConfig.InputTrigger = TIM_TS_ITR0;
  if (HAL_TIM_SlaveConfigSynchro(&htim12, &sSlaveConfig) != HAL_OK)
  {
    Error_Handler();
  }
  sConfigOC.OCMode = TIM_OCMODE_PWM1;
  sConfigOC.Pulse = 0x4000;
  sConfigOC.OCPolarity = TIM_OCPOLARITY_HIGH;
  sConfigOC.OCFastMode = TIM_OCFAST_DISABLE;
  if (HAL_TIM_PWM_ConfigChannel(&htim12, &sConfigOC, TIM_CHANNEL_1) != HAL_OK)
  {
    Error_Handler();
  }

}

static void MX_DMA_Init(void)
{

  /* DMA controller clock enable */
  __HAL_RCC_DMA1_CLK_ENABLE();
  __HAL_RCC_DMA2_CLK_ENABLE();

  /* DMA interrupt init */
  /* DMA1_Stream0_IRQn interrupt configuration */
  HAL_NVIC_SetPriority(DMA1_Stream0_IRQn, 3, 0);
  HAL_NVIC_EnableIRQ(DMA1_Stream0_IRQn);
  /* DMA1_Stream1_IRQn interrupt configuration */
  HAL_NVIC_SetPriority(DMA1_Stream1_IRQn, 3, 0);
  HAL_NVIC_EnableIRQ(DMA1_Stream1_IRQn);
  /* DMA1_Stream2_IRQn interrupt configuration */
  HAL_NVIC_SetPriority(DMA1_Stream2_IRQn, 3, 0);
  HAL_NVIC_EnableIRQ(DMA1_Stream2_IRQn);
  /* DMA1_Stream3_IRQn interrupt configuration */
  HAL_NVIC_SetPriority(DMA1_Stream3_IRQn, 3, 0);
  HAL_NVIC_EnableIRQ(DMA1_Stream3_IRQn);
  /* DMA1_Stream4_IRQn interrupt configuration */
  HAL_NVIC_SetPriority(DMA1_Stream4_IRQn, 3, 0);
  HAL_NVIC_EnableIRQ(DMA1_Stream4_IRQn);
  /* DMA1_Stream5_IRQn interrupt configuration */
  HAL_NVIC_SetPriority(DMA1_Stream5_IRQn, 3, 0);
  HAL_NVIC_EnableIRQ(DMA1_Stream5_IRQn);
  /* DMA1_Stream7_IRQn interrupt configuration */
  HAL_NVIC_SetPriority(DMA1_Stream7_IRQn, 3, 0);
  HAL_NVIC_EnableIRQ(DMA1_Stream7_IRQn);
  /* DMA2_Stream0_IRQn interrupt configuration */
  HAL_NVIC_SetPriority(DMA2_Stream0_IRQn, 3, 0);
  HAL_NVIC_EnableIRQ(DMA2_Stream0_IRQn);
  /* DMA2_Stream1_IRQn interrupt configuration */
  HAL_NVIC_SetPriority(DMA2_Stream1_IRQn, 3, 0);
  HAL_NVIC_EnableIRQ(DMA2_Stream1_IRQn);
  /* DMA2_Stream2_IRQn interrupt configuration */
  HAL_NVIC_SetPriority(DMA2_Stream2_IRQn, 3, 0);
  HAL_NVIC_EnableIRQ(DMA2_Stream2_IRQn);
  /* DMA2_Stream3_IRQn interrupt configuration */
  HAL_NVIC_SetPriority(DMA2_Stream3_IRQn, 3, 0);
  HAL_NVIC_EnableIRQ(DMA2_Stream3_IRQn);
  /* DMA2_Stream4_IRQn interrupt configuration */
  HAL_NVIC_SetPriority(DMA2_Stream4_IRQn, 3, 0);
  HAL_NVIC_EnableIRQ(DMA2_Stream4_IRQn);
  /* DMA2_Stream6_IRQn interrupt configuration */
  HAL_NVIC_SetPriority(DMA2_Stream6_IRQn, 3, 0);
  HAL_NVIC_EnableIRQ(DMA2_Stream6_IRQn);
  /* DMA2_Stream7_IRQn interrupt configuration */
  HAL_NVIC_SetPriority(DMA2_Stream7_IRQn, 3, 0);
  HAL_NVIC_EnableIRQ(DMA2_Stream7_IRQn);

}

static void MX_GPIO_Init(void)
{
  GPIO_InitTypeDef GPIO_InitStruct = {0};

  /* GPIO Ports Clock Enable */
  __HAL_RCC_GPIOC_CLK_ENABLE();
  __HAL_RCC_GPIOH_CLK_ENABLE();
  __HAL_RCC_GPIOA_CLK_ENABLE();
  __HAL_RCC_GPIOB_CLK_ENABLE();

  /*Configure GPIO pin Output Level */
  HAL_GPIO_WritePin(GPIOC, LED_G_Pin|LED_R_Pin, GPIO_PIN_SET);

  /*Configure GPIO pin Output Level */
  HAL_GPIO_WritePin(TREF_GPIO_Port, TREF_Pin, GPIO_PIN_SET);

  /*Configure GPIO pin Output Level */
  HAL_GPIO_WritePin(TEST_GPIO_Port, TEST_Pin, GPIO_PIN_RESET);

  /*Configure GPIO pin Output Level */
  HAL_GPIO_WritePin(GPIOB, CAN_STB_Pin|CAN_TERM_Pin, GPIO_PIN_RESET);

  /*Configure GPIO pin Output Level */
  HAL_GPIO_WritePin(OTG_VBUS_GPIO_Port, OTG_VBUS_Pin, GPIO_PIN_RESET);

  /*Configure GPIO pin : OTG_ID_Pin */
  GPIO_InitStruct.Pin = OTG_ID_Pin;
  GPIO_InitStruct.Mode = GPIO_MODE_INPUT;
  GPIO_InitStruct.Pull = GPIO_PULLUP;
  HAL_GPIO_Init(OTG_ID_GPIO_Port, &GPIO_InitStruct);

  /*Configure GPIO pins : LED_G_Pin LED_R_Pin */
  GPIO_InitStruct.Pin = LED_G_Pin|LED_R_Pin;
  GPIO_InitStruct.Mode = GPIO_MODE_OUTPUT_OD;
  GPIO_InitStruct.Pull = GPIO_NOPULL;
  GPIO_InitStruct.Speed = GPIO_SPEED_FREQ_LOW;
  HAL_GPIO_Init(GPIOC, &GPIO_InitStruct);

  /*Configure GPIO pin : TREF_Pin */
  GPIO_InitStruct.Pin = TREF_Pin;
  GPIO_InitStruct.Mode = GPIO_MODE_OUTPUT_PP;
  GPIO_InitStruct.Pull = GPIO_NOPULL;
  GPIO_InitStruct.Speed = GPIO_SPEED_FREQ_VERY_HIGH;
  HAL_GPIO_Init(TREF_GPIO_Port, &GPIO_InitStruct);

  /*Configure GPIO pin : TEST_Pin */
  GPIO_InitStruct.Pin = TEST_Pin;
  GPIO_InitStruct.Mode = GPIO_MODE_OUTPUT_PP;
  GPIO_InitStruct.Pull = GPIO_PULLDOWN;
  GPIO_InitStruct.Speed = GPIO_SPEED_FREQ_VERY_HIGH;
  HAL_GPIO_Init(TEST_GPIO_Port, &GPIO_InitStruct);

  /*Configure GPIO pin : CAN_STB_Pin */
  GPIO_InitStruct.Pin = CAN_STB_Pin;
  GPIO_InitStruct.Mode = GPIO_MODE_OUTPUT_PP;
  GPIO_InitStruct.Pull = GPIO_NOPULL;
  GPIO_InitStruct.Speed = GPIO_SPEED_FREQ_LOW;
  HAL_GPIO_Init(CAN_STB_GPIO_Port, &GPIO_InitStruct);

  /*Configure GPIO pin : CAN_TERM_Pin */
  GPIO_InitStruct.Pin = CAN_TERM_Pin;
  GPIO_InitStruct.Mode = GPIO_MODE_OUTPUT_OD;
  GPIO_InitStruct.Pull = GPIO_NOPULL;
  GPIO_InitStruct.Speed = GPIO_SPEED_FREQ_LOW;
  HAL_GPIO_Init(CAN_TERM_GPIO_Port, &GPIO_InitStruct);

  /*Configure GPIO pin : OTG_VBUS_Pin */
  GPIO_InitStruct.Pin = OTG_VBUS_Pin;
  GPIO_InitStruct.Mode = GPIO_MODE_OUTPUT_PP;
  GPIO_InitStruct.Pull = GPIO_NOPULL;
  GPIO_InitStruct.Speed = GPIO_SPEED_FREQ_LOW;
  HAL_GPIO_Init(OTG_VBUS_GPIO_Port, &GPIO_InitStruct);

}

/* USER CODE BEGIN 4 */
/*******************************************************************************
* Function Name	:
* Description		:
* Output				:
* Return				:
*******************************************************************************/
void	HAL_ADC_ConvCpltCallback(ADC_HandleTypeDef* hadc) {
	pwr.T=pwr.V45=pwr.Vm5=0;
	uint32_t i;
	for(i=0; i<sizeof(pwr.dma)/sizeof(dma); ++i) {
		pwr.T+=pwr.dma[i].T;
		pwr.V45+=pwr.dma[i].V45;
		pwr.Vm5+=pwr.dma[i].Vm5;
	}
	pwr.T/=i;
	pwr.V45/=i;
	pwr.Vm5/=i;
}
/* USER CODE END 4 */

void Error_Handler(void)
{
}

/************************ (C) COPYRIGHT STMicroelectronics *****END OF FILE****/
